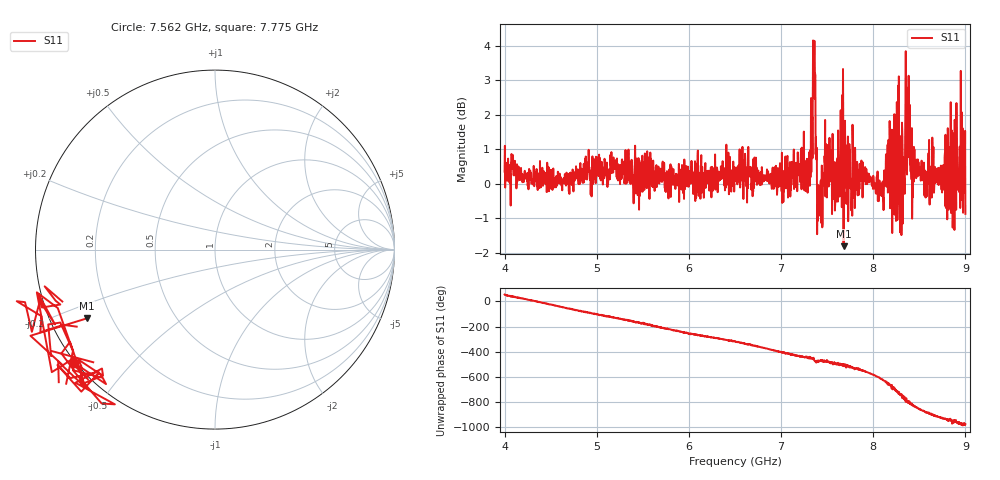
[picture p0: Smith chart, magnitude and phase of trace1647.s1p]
! Created with skrf 1.8.0 (http://scikit-rf.org).
# Hz S RI R 50.0
!freq ReS11 ImS11
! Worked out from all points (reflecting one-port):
!   1601 points, 4 GHz to 9 GHz, reference 50 ohm
!   lowest |S11| = -1.8 dB at 7.678 GHz (marker M1), VSWR 9.61, Z = 5.53 - j12.4 ohm
!   phase of S11 starts at 54 deg and turns -1031 deg over the sweep
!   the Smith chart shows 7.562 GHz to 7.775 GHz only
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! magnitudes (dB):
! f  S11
! 4 GHz  0.3
! 4.625 GHz  -0.2
! 5.25 GHz  0.1
! 5.875 GHz  0.2
! 6.5 GHz  0.3
! 7.125 GHz  0.3
! 7.297 GHz  0.2
! 7.316 GHz  1.0
! 7.35 GHz  2.9
! 7.369 GHz  3.2
! 7.4 GHz  -1.1
! 7.416 GHz  -0.9
! 7.503 GHz  0.9
! 7.578 GHz  0.2
! 7.678 GHz  -1.8
! 7.703 GHz  1.1
! 7.75 GHz  0.1
! 8.088 GHz  -0.1
! 8.178 GHz  1.8
! 8.228 GHz  2.0
! 8.253 GHz  0.1
! 8.316 GHz  1.4
! 8.328 GHz  0.5
! 8.375 GHz  0.8
! 8.447 GHz  1.0
! 8.766 GHz  -0.1
! 8.959 GHz  2.1
! 9 GHz  -0.9
